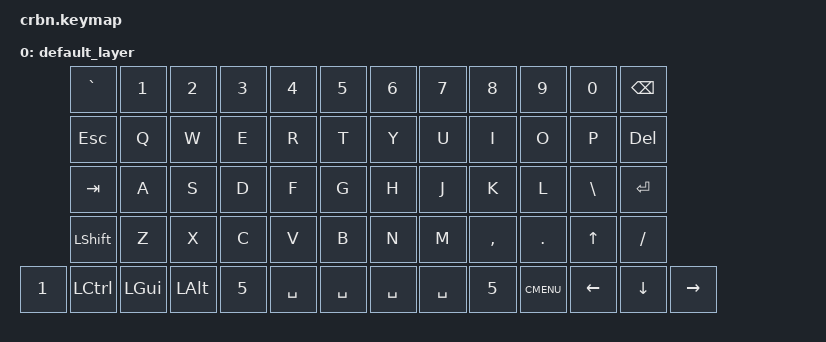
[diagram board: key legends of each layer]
/*
 * Copyright (c) 2020 The ZMK Contributors
 *
 * SPDX-License-Identifier: MIT
 */

#include <behaviors.dtsi>
#include <dt-bindings/zmk/keys.h>
#include <dt-bindings/zmk/bt.h>

/ {
	keymap {
		compatible = "zmk,keymap";
		default_layer {
			bindings = <
				&kp GRAVE &kp N1 &kp N2 &kp N3 &kp N4 &kp N5 &kp N6 &kp N7 &kp N8 &kp N9 &kp N0 &kp BSPC
				&kp ESC &kp Q &kp W &kp E &kp R &kp T &kp Y &kp U &kp I &kp O &kp P &kp DEL
				&kp TAB &kp A &kp S &kp D &kp F &kp G &kp H &kp J &kp K &kp L &kp BSLH &kp RETURN
				&kp LSHIFT &kp Z &kp X &kp C &kp V &kp B &kp N &kp M &kp COMMA &kp PERIOD &kp UP &kp FSLH
				&kp N1 &kp LCTRL &kp LGUI &kp LALT &kp N5 &kp SPACE &kp SPACE &kp SPACE &kp SPACE &kp N5 &kp K_CMENU &kp LEFT &kp DOWN &kp RIGHT
			>;
		};
		/*
		default_layer {
				// -----------------------------------------------------------------------------------------
				// |  TAB  |  Q   |  W   |  E   |  R   |  T   |   Y   |  U    |  I   |  O   |   P   | BSPC  |
				// |  ESC  |  A   |  S   |  D   |  F   |  G   |   H   |  J    |  K   |  L   |   ;   |  '    |
				// | SHIFT |  Z   |  X   |  C   |  V   |  B   |   N   |  M    |  ,   |  .   |   /   |  RET  |
				// | FN    | LGUI | LALT | LCTL | LOWR |     SPACE    |  RAIS | LARW | DARW | UARW  |  RARW |
			bindings = <
				&kp TAB  &kp Q    &kp W &kp E &kp R &kp T  &kp Y   &kp U  &kp I    &kp O   &kp P    &kp BSPC
				&kp ESC  &kp A    &kp S &kp D &kp F &kp G  &kp H   &kp J  &kp K    &kp L   &kp SEMI &kp SQT
				&kp LSHFT &kp Z    &kp X &kp C &kp V &kp B  &kp N   &kp M  &kp COMMA &kp DOT &kp BSLH &kp RET
				&trans   &kp LGUI &kp LALT &kp LCTRL &mo 1 &kp SPACE &trans &mo 2 &kp LEFT &kp DOWN &kp UP &kp RIGHT
			>;

			sensor-bindings = <&inc_dec_kp PG_UP PG_DN>;
		};

		lower {
			bindings = <
				&kp LS(GRAVE) &kp LS(N1) &kp LS(N2) &kp LS(N3) &kp LS(N4) &kp LS(N5) &kp LS(N6) &kp LS(N7) &kp LS(N8) &kp LS(N9) &kp LS(N0) &kp DEL
				&kp DEL &kp F1 &kp F2 &kp F3 &kp F4 &kp F5 &kp F6 &kp UNDER &kp PLUS &kp LT &kp GT &kp PIPE
				&trans &kp F7 &kp F8 &kp F9 &kp F10 &kp F11 &kp F12 &kp LS(HASH) &kp LS(BSLH) &kp HOME &kp END &trans
				&trans &trans &trans &trans &trans &trans &trans &mo 3 &kp C_NEXT &kp C_VOL_DN &kp C_VOL_UP &kp C_PP
			>;

			sensor-bindings = <&inc_dec_kp C_VOL_UP C_VOL_DN>;
		};

		raise {
			bindings = <
				&kp GRAVE &kp N1 &kp N2 &kp N3 &kp N4 &kp N5 &kp N6 &kp N7 &kp N8 &kp N9 &kp N0 &kp BSPC
				&kp DEL &kp F1 &kp F2 &kp F3 &kp F4 &kp F5 &kp F6 &kp MINUS &kp EQUAL &kp LBKT &kp RBKT &kp BSLH
				&trans &kp F7 &kp F8 &kp F9 &kp F10 &kp F11 &kp F12 &kp HASH &kp BSLH &kp PG_UP &kp PG_DN &trans
				&trans &trans &trans &trans &mo 3 &trans &trans &trans &kp C_NEXT &kp C_VOL_DN &kp C_VOL_UP &kp C_PP
			>;
		};
		
		control {
			bindings = <
				&reset &bootloader &bt BT_CLR &bt BT_PRV &bt BT_NXT &trans &trans &trans &trans &trans &trans &trans
				&trans &trans &trans &trans &trans &trans &trans &trans &trans &trans &trans &trans
				&trans &trans &trans &trans &trans &trans &trans &trans &trans &trans &trans &trans
				&trans &trans &trans &trans &trans &trans &trans &trans &trans &trans &trans &trans
			>;
		};
		*/
	};
};
